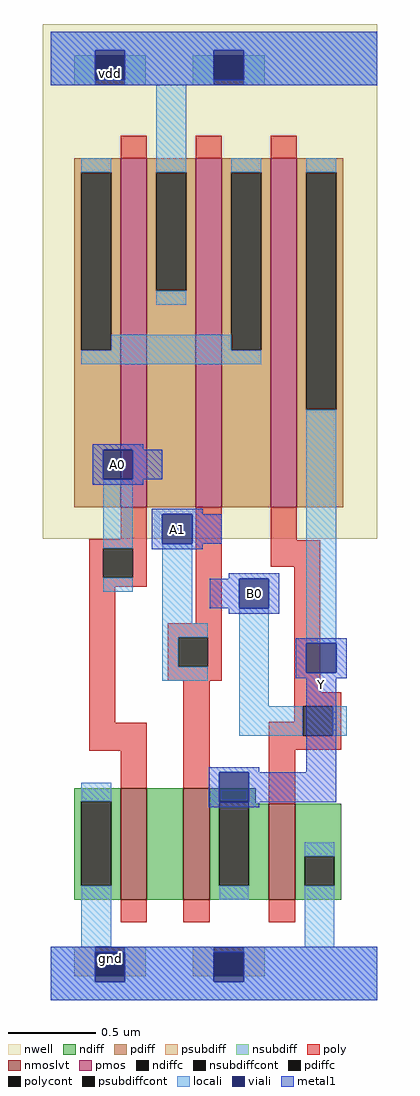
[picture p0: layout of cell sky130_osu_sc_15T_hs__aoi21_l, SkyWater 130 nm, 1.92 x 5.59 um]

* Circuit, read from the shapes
.subckt sky130_osu_sc_15T_hs__aoi21_l A0 B0 Y A1
XM1 n1 A0 gnd gnd sky130_fd_pr__nfet_01v8_lvt w=0.64 l=0.15
XM2 Y A1 n1 gnd sky130_fd_pr__nfet_01v8_lvt w=0.64 l=0.15
XM3 gnd B0 Y gnd sky130_fd_pr__nfet_01v8_lvt w=0.55 l=0.15
XM4 vdd A0 n2 vdd sky130_fd_pr__pfet_01v8 w=2 l=0.15
XM5 n2 A1 vdd vdd sky130_fd_pr__pfet_01v8 w=2 l=0.15
XM6 Y B0 n2 vdd sky130_fd_pr__pfet_01v8 w=2 l=0.15
.ends

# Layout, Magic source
magic
tech sky130A
magscale 1 2
<< nwell >>
rect -9 529 374 1119
<< pmos >>
rect 80 565 110 965
rect 166 565 196 965
rect 252 565 282 965
<< nmoslvt >>
rect 80 115 110 243
rect 152 115 182 243
rect 250 115 280 225
<< ndiff >>
rect 27 228 80 243
rect 27 131 35 228
rect 69 131 80 228
rect 27 115 80 131
rect 110 115 152 243
rect 182 228 235 243
rect 182 131 193 228
rect 227 225 235 228
rect 227 131 250 225
rect 182 115 250 131
rect 280 165 333 225
rect 280 131 291 165
rect 325 131 333 165
rect 280 115 333 131
<< pdiff >>
rect 27 949 80 965
rect 27 745 35 949
rect 69 745 80 949
rect 27 565 80 745
rect 110 949 166 965
rect 110 813 121 949
rect 155 813 166 949
rect 110 565 166 813
rect 196 949 252 965
rect 196 745 207 949
rect 241 745 252 949
rect 196 565 252 745
rect 282 949 335 965
rect 282 677 293 949
rect 327 677 335 949
rect 282 565 335 677
<< ndiffc >>
rect 35 131 69 228
rect 193 131 227 228
rect 291 131 325 165
<< pdiffc >>
rect 35 745 69 949
rect 121 813 155 949
rect 207 745 241 949
rect 293 677 327 949
<< psubdiff >>
rect 27 27 51 61
rect 85 27 109 61
rect 163 27 187 61
rect 221 27 245 61
<< nsubdiff >>
rect 27 1049 51 1083
rect 85 1049 109 1083
rect 163 1049 187 1083
rect 221 1049 245 1083
<< psubdiffcont >>
rect 51 27 85 61
rect 187 27 221 61
<< nsubdiffcont >>
rect 51 1049 85 1083
rect 187 1049 221 1083
<< poly >>
rect 80 965 110 991
rect 166 965 196 991
rect 252 965 282 991
rect 80 528 110 565
rect 44 518 110 528
rect 44 484 60 518
rect 94 484 110 518
rect 44 474 110 484
rect 44 318 74 474
rect 166 432 196 565
rect 252 527 282 565
rect 252 497 309 527
rect 134 416 196 432
rect 134 382 146 416
rect 180 382 196 416
rect 134 366 196 382
rect 44 286 110 318
rect 80 243 110 286
rect 152 243 182 366
rect 279 353 309 497
rect 279 337 333 353
rect 279 319 289 337
rect 250 303 289 319
rect 323 303 333 337
rect 250 287 333 303
rect 250 225 280 287
rect 80 89 110 115
rect 152 89 182 115
rect 250 89 280 115
<< polycont >>
rect 60 484 94 518
rect 146 382 180 416
rect 289 303 323 337
<< locali >>
rect 0 1089 374 1110
rect 0 1049 51 1089
rect 85 1049 187 1089
rect 221 1049 374 1089
rect 35 949 69 965
rect 121 949 155 1049
rect 121 797 155 813
rect 207 949 241 965
rect 69 745 207 763
rect 35 729 241 745
rect 293 949 327 965
rect 60 518 94 597
rect 60 468 94 484
rect 128 432 162 523
rect 128 416 180 432
rect 128 382 146 416
rect 128 366 180 382
rect 216 337 250 449
rect 293 409 327 677
rect 216 303 289 337
rect 323 303 339 337
rect 35 228 69 249
rect 35 61 69 131
rect 193 115 227 131
rect 291 165 325 181
rect 291 61 325 131
rect 0 21 51 61
rect 85 21 187 61
rect 221 21 374 61
rect 0 0 374 21
<< viali >>
rect 51 1083 85 1089
rect 51 1055 85 1083
rect 187 1083 221 1089
rect 187 1055 221 1083
rect 60 597 94 631
rect 128 523 162 557
rect 216 449 250 483
rect 293 375 327 409
rect 193 228 227 261
rect 193 227 227 228
rect 51 27 85 55
rect 51 21 85 27
rect 187 27 221 55
rect 187 21 221 27
<< metal1 >>
rect 0 1089 374 1110
rect 0 1055 51 1089
rect 85 1055 187 1089
rect 221 1055 374 1089
rect 0 1049 374 1055
rect 48 631 106 637
rect 48 597 60 631
rect 94 597 128 631
rect 48 591 106 597
rect 116 557 174 563
rect 116 523 128 557
rect 162 523 196 557
rect 116 517 174 523
rect 204 483 262 489
rect 182 449 216 483
rect 250 449 262 483
rect 204 443 262 449
rect 281 409 339 415
rect 281 375 293 409
rect 327 375 339 409
rect 281 369 339 375
rect 181 261 239 267
rect 293 261 327 369
rect 181 227 193 261
rect 227 227 327 261
rect 181 221 239 227
rect 0 55 374 61
rect 0 21 51 55
rect 85 21 187 55
rect 221 21 374 55
rect 0 0 374 21
<< labels >>
rlabel viali 77 614 77 614 1 A0
port 1 n
rlabel viali 233 466 233 466 1 B0
port 2 n
rlabel metal1 310 362 310 362 1 Y
port 3 n
rlabel viali 145 540 145 540 1 A1
port 4 n
rlabel viali 68 48 68 48 1 gnd
rlabel viali 68 1062 68 1062 1 vdd
<< end >>
